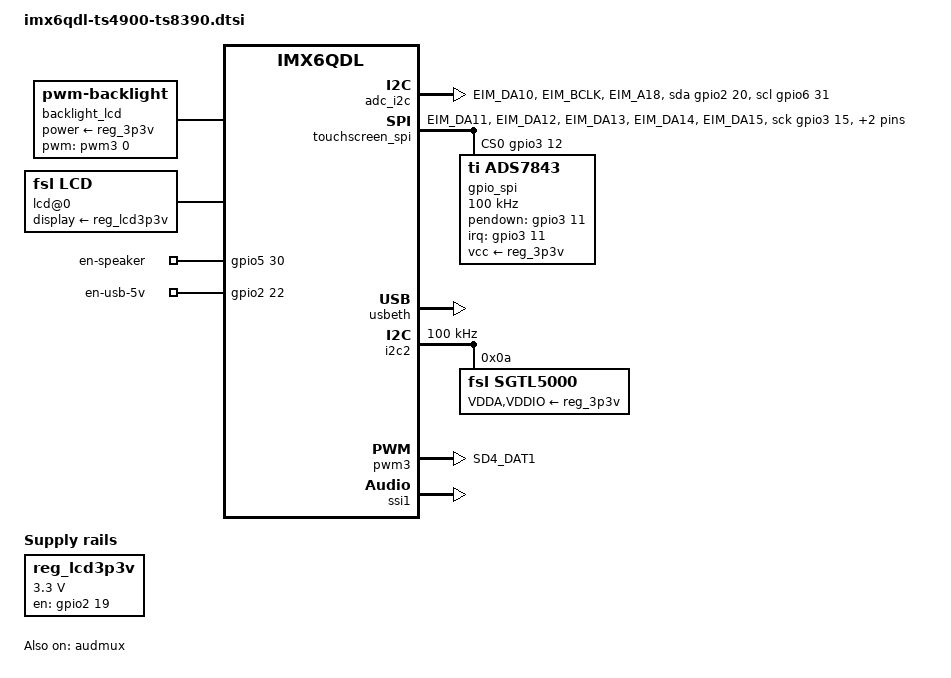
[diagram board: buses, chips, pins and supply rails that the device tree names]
/*
 * Copyright 2017 Technologic Systems
 *
 * This file is dual-licensed: you can use it either under the terms
 * of the GPL or the X11 license, at your option. Note that this dual
 * licensing only applies to this file, and not this project as a
 * whole.
 *
 *  a) This file is free software; you can redistribute it and/or
 *     modify it under the terms of the GNU General Public License
 *     version 2 as published by the Free Software Foundation.
 *
 *     This file is distributed in the hope that it will be useful
 *     but WITHOUT ANY WARRANTY; without even the implied warranty of
 *     MERCHANTABILITY or FITNESS FOR A PARTICULAR PURPOSE.  See the
 *     GNU General Public License for more details.
 *
 * Or, alternatively
 *
 *  b) Permission is hereby granted, free of charge, to any person
 *     obtaining a copy of this software and associated documentation
 *     files (the "Software"), to deal in the Software without
 *     restriction, including without limitation the rights to use
 *     copy, modify, merge, publish, distribute, sublicense, and/or
 *     sell copies of the Software, and to permit persons to whom the
 *     Software is furnished to do so, subject to the following
 *     conditions:
 *
 *     The above copyright notice and this permission notice shall be
 *     included in all copies or substantial portions of the Software.
 *
 *     THE SOFTWARE IS PROVIDED , WITHOUT WARRANTY OF ANY KIND
 *     EXPRESS OR IMPLIED, INCLUDING BUT NOT LIMITED TO THE WARRANTIES
 *     OF MERCHANTABILITY, FITNESS FOR A PARTICULAR PURPOSE AND
 *     NONINFRINGEMENT. IN NO EVENT SHALL THE AUTHORS OR COPYRIGHT
 *     HOLDERS BE LIABLE FOR ANY CLAIM, DAMAGES OR OTHER LIABILITY
 *     WHETHER IN AN ACTION OF CONTRACT, TORT OR OTHERWISE, ARISING
 *     FROM, OUT OF OR IN CONNECTION WITH THE SOFTWARE OR THE USE OR
 *     OTHER DEALINGS IN THE SOFTWARE.
 */

#include "imx6qdl-ts4900.dtsi"
#include <dt-bindings/interrupt-controller/irq.h>

/ {
	aliases {
		ethernet0 = &fec;
		ethernet1 = &usbeth;
		mxcfb0 = &mxcfb0;
		i2c3 = &adc_i2c;
	};

	adc_i2c: adc-i2c {
		compatible = "i2c-gpio";
		status = "okay";
		pinctrl-names = "default";
		pinctrl-0 = <&pinctrl_anamux>;
		gpios = <&gpio2 20 0>, /* sda */
				<&gpio6 31 0>; /* scl */
		#address-cells = <1>;
		#size-cells = <0>;
	};

	backlight_lcd {
		compatible = "pwm-backlight";
		pwms = <&pwm3 0 5000000>;
		brightness-levels = <0 128 140 160 180 200 220 240 255>;
		default-brightness-level = <8>;
		power-supply = <&reg_3p3v>;
	};

	lcd@0 {
		compatible = "fsl,lcd";
		ipu_id = <0>;
		disp_id = <0>;
		default_ifmt = "RGB24";
		pinctrl-names = "default";
		pinctrl-0 = <&pinctrl_ipu>;
		status = "okay";
		display-supply = <&reg_lcd3p3v>;
	};

	leds {
		compatible = "gpio-leds";

		/* These are intended as userspace controlled IO.  In this
		 * kernel version LEDs are the best interface I can find to 
		 * allow both userspace control and a default value.
		 */
		en-speaker {
			label = "en-speaker";
			gpios = <&gpio5 30 0>;
			default-state = "on";
		};

		en-usb-5v {
			label = "en-usb-5v";
			gpios = <&gpio2 22 0>;
			default-state = "on";
		};
	};

	mxcfb0: fb@0 {
		compatible = "fsl,mxc_sdc_fb";
		disp_dev = "lcd";
		interface_pix_fmt = "RGB24";
		mode_str ="OKAYA-WVGA";
		default_bpp = <16>;
		int_clk = <0>;
		late_init = <0>;
		status = "okay";
	};

	regulators {
		compatible = "simple-bus";

		reg_lcd3p3v: lcd3p3v {
			compatible = "regulator-fixed";
			pinctrl-names = "default";
			pinctrl-0 = <&pinctrl_lcd3p3v>;
			regulator-name = "LCD3P3V";
			regulator-min-microvolt = <3300000>;
			regulator-max-microvolt = <3300000>;
			gpio = <&gpio2 19 0>;
			enable-active-high;
			startup-delay-us = <60000>;
		};
	};

	sound {
		audio-codec = <&sgtl5000>;
		audio-routing =
			"MIC_IN", "Mic Jack",
			"Mic Jack", "Mic Bias",
			"Headphone Jack", "HP_OUT";
		compatible = "fsl,imx-audio-sgtl5000";
		model = "On-board Codec";
		mux-ext-port = <3>;
		mux-int-port = <1>;
		ssi-controller = <&ssi1>;
	};

	touchscreen_spi {
		compatible = "spi-gpio";
		pinctrl-names = "default";
		pinctrl-0 = <&pinctrl_touch>;
		status = "okay";
		num-chipselects = <1>;
		#address-cells = <1>;
		#size-cells = <0>;

		gpio-sck = <&gpio3 15 0>;
		gpio-mosi = <&gpio3 14 0>;
		gpio-miso = <&gpio3 13 0>;
		cs-gpios = <&gpio3 12 0>;

		gpio_spi: ads7843@0 {
			compatible = "ti,ads7843";
			reg = <0>;
			interrupt-parent = <&gpio3>;
			interrupts = <11 2>;
			vcc-supply = <&reg_3p3v>;
			spi-max-frequency = <100000>;
			pendown-gpio = <&gpio3 11 0>;
			ti,penirq-recheck-delay-usecs = /bits/ 16 <5000>;
			ti,vref-mv = <3300>;
			ti,swap-xy;
			ti,keep-vref-on;
			ti,settle-delay-usec = /bits/ 16 <5000>;
			ti,vref-delay-usecs = /bits/ 16 <0>;
			ti,x-plate-ohms = /bits/ 16 <400>;
			ti,y-plate-ohms = /bits/ 16 <400>;
			ti,pressure-max = /bits/ 16 <15000>;
			ti,debounce-rep = /bits/ 16 <2>;
			ti,debounce-tol = /bits/ 16 <65535>;
			ti,debounce-max = /bits/ 16 <0>;
			ti,pendown-gpio-debounce = <100000>;
			linux,wakeup;
		};
	};

	usbeth: smsc95xx {
		status = "okay";
	};
};

&audmux {
	status = "okay";
};

&i2c2 {
	status = "okay";
	clock-frequency = <100000>;
	pinctrl-names = "default";
	pinctrl-0 = <&pinctrl_i2c2>;

	sgtl5000: sgtl5000@0a {
		compatible = "fsl,sgtl5000";
		pinctrl-names = "default";
		pinctrl-0 = <&pinctrl_sgtl5000>;
		reg = <0x0a>;
		clocks = <&clks 201>;
		VDDA-supply = <&reg_3p3v>;
		VDDIO-supply = <&reg_3p3v>;
	};
};

&iomuxc {
	pinctrl-names = "default";
	pinctrl-0 = <&pinctrl_misc>;

	imx6-ts4900 {
		pinctrl_ipu: tsipugrp {
			fsl,pins = <
				MX6QDL_PAD_DI0_DISP_CLK__IPU1_DI0_DISP_CLK	0x38
				MX6QDL_PAD_DI0_PIN15__IPU1_DI0_PIN15		0xe0 /* DE */
				MX6QDL_PAD_DI0_PIN2__IPU1_DI0_PIN02		0xe0 /* Hsync */
				MX6QDL_PAD_DI0_PIN3__IPU1_DI0_PIN03		0xe0 /* Vsync */
				MX6QDL_PAD_DISP0_DAT0__IPU1_DISP0_DATA00	0xe0
				MX6QDL_PAD_DISP0_DAT1__IPU1_DISP0_DATA01	0xe0
				MX6QDL_PAD_DISP0_DAT2__IPU1_DISP0_DATA02	0xe0
				MX6QDL_PAD_DISP0_DAT3__IPU1_DISP0_DATA03	0xe0
				MX6QDL_PAD_DISP0_DAT4__IPU1_DISP0_DATA04	0xe0
				MX6QDL_PAD_DISP0_DAT5__IPU1_DISP0_DATA05	0xe0
				MX6QDL_PAD_DISP0_DAT6__IPU1_DISP0_DATA06	0xe0
				MX6QDL_PAD_DISP0_DAT7__IPU1_DISP0_DATA07	0xe0
				MX6QDL_PAD_DISP0_DAT8__IPU1_DISP0_DATA08	0xe0
				MX6QDL_PAD_DISP0_DAT9__IPU1_DISP0_DATA09	0xe0
				MX6QDL_PAD_DISP0_DAT10__IPU1_DISP0_DATA10	0xe0
				MX6QDL_PAD_DISP0_DAT11__IPU1_DISP0_DATA11	0xe0
				MX6QDL_PAD_DISP0_DAT12__IPU1_DISP0_DATA12	0xe0
				MX6QDL_PAD_DISP0_DAT13__IPU1_DISP0_DATA13	0xe0
				MX6QDL_PAD_DISP0_DAT14__IPU1_DISP0_DATA14	0xe0
				MX6QDL_PAD_DISP0_DAT15__IPU1_DISP0_DATA15	0xe0
				MX6QDL_PAD_DISP0_DAT16__IPU1_DISP0_DATA16	0xe0
				MX6QDL_PAD_DISP0_DAT17__IPU1_DISP0_DATA17	0xe0
				MX6QDL_PAD_DISP0_DAT18__IPU1_DISP0_DATA18	0xe0
				MX6QDL_PAD_DISP0_DAT19__IPU1_DISP0_DATA19	0xe0
				MX6QDL_PAD_DISP0_DAT20__IPU1_DISP0_DATA20	0xe0
				MX6QDL_PAD_DISP0_DAT21__IPU1_DISP0_DATA21	0xe0
				MX6QDL_PAD_DISP0_DAT22__IPU1_DISP0_DATA22	0xe0
				MX6QDL_PAD_DISP0_DAT23__IPU1_DISP0_DATA23	0xe0
			>;
		};

		pinctrl_touch: touchspigrp {
			fsl,pins = <
				MX6QDL_PAD_EIM_DA11__GPIO3_IO11		0x1b088 /* TOUCH_WAKE# */
				MX6QDL_PAD_EIM_DA12__GPIO3_IO12		0x1b088 /* TOUCH_CS# */
				MX6QDL_PAD_EIM_DA13__GPIO3_IO13		0x1b088 /* TOUCH_MISO */
				MX6QDL_PAD_EIM_DA14__GPIO3_IO14		0x1b088 /* TOUCH_MOSI */
				MX6QDL_PAD_EIM_DA15__GPIO3_IO15		0x1b088 /* TOUCH_CLK */
			>;
		};

		pinctrl_pwm3: pwm3grp {
			fsl,pins = <
				MX6QDL_PAD_SD4_DAT1__PWM3_OUT		0x1b088
			>;
		};

		pinctrl_lcd3p3v: lcdreggrp {
			fsl,pins = <
				MX6QDL_PAD_EIM_A19__GPIO2_IO19		0x1b088 /* EN_LCD_3.3V */
			>;
		};

		pinctrl_sgtl5000: sgtl5000grp {
			fsl,pins = <
				MX6QDL_PAD_CSI0_DAT7__AUD3_RXD		0x130b0
				MX6QDL_PAD_CSI0_DAT4__AUD3_TXC		0x130b0
				MX6QDL_PAD_CSI0_DAT5__AUD3_TXD		0x110b0
				MX6QDL_PAD_CSI0_DAT6__AUD3_TXFS		0x130b0
				MX6QDL_PAD_GPIO_0__CCM_CLKO1		0x130b0 /* Audio CLK */
			>;
		};

		pinctrl_anamux: anamuxgrp {
			fsl,pins = <
				MX6QDL_PAD_EIM_DA10__GPIO3_IO10		0x1b088 /* AN_SEL */
				MX6QDL_PAD_EIM_BCLK__GPIO6_IO31		0x1b088 /* ADC_CLK */
				MX6QDL_PAD_EIM_A18__GPIO2_IO20		0x1b088 /* ADC_DAT */
			>;
		};

		pinctrl_misc: misc {
			fsl,pins = <
				MX6QDL_PAD_EIM_A16__GPIO2_IO22		0x1b088 /* EN_USB_5V# */
				MX6QDL_PAD_EIM_A17__GPIO2_IO21		0x1b088 /* OFF_BD_RESET# */

				MX6QDL_PAD_EIM_A24__GPIO5_IO04		0x1b088 /* DIO_00/OUT_0 */
				MX6QDL_PAD_EIM_A23__GPIO6_IO06		0x1b088 /* DIO_01/OUT_1 */
				MX6QDL_PAD_EIM_A22__GPIO2_IO16		0x1b088 /* DIO_02/OUT_2 */
				MX6QDL_PAD_EIM_EB1__GPIO2_IO29		0x1b088 /* DIO_23/OUT_3 */
				MX6QDL_PAD_EIM_CS0__GPIO2_IO23		0x1b088 /* DIO_24/OUT_4 */
				MX6QDL_PAD_EIM_LBA__GPIO2_IO27		0x1b088 /* DIO_26/OUT_5 */
				MX6QDL_PAD_EIM_DA8__GPIO3_IO08		0x1b088 /* DIO_27/OUT_6 */
				MX6QDL_PAD_EIM_DA9__GPIO3_IO09		0x1b088 /* DIO_28/OUT_7 */
				MX6QDL_PAD_CSI0_MCLK__GPIO5_IO19	0x1b088 /* OUT_8 */
				MX6QDL_PAD_EIM_A21__GPIO2_IO17		0x1b088 /* DIO_08/IN_0 */
				MX6QDL_PAD_EIM_WAIT__GPIO5_IO00		0x1b088 /* DIO_22/IN_2 */
				MX6QDL_PAD_EIM_A20__GPIO2_IO18		0x1b088 /* DIO_04/IN_4 */
				MX6QDL_PAD_GPIO_19__GPIO4_IO05		0x1b088 /* DIO_29/IN_5 */
				MX6QDL_PAD_CSI0_DAT17__GPIO6_IO03	0x1b088 /* DIO_20/IN_6 */
				MX6QDL_PAD_CSI0_PIXCLK__GPIO5_IO18	0x1b088 /* DIO_21/IN_7 */
				MX6QDL_PAD_GPIO_17__GPIO7_IO12		0x1b088 /* DIO_17/IN_8 */
				MX6QDL_PAD_SD3_RST__GPIO7_IO08		0x1b088 /* DIO_43/IN_9 */
				MX6QDL_PAD_GPIO_16__GPIO7_IO11		0x1b088 /* DIO_49/IN_10 */
				MX6QDL_PAD_SD4_DAT7__GPIO2_IO15		0x1b088 /* DIO_52/IN_11 */
				MX6QDL_PAD_CSI0_DAT12__GPIO5_IO30	0x1b088 /* EN_SPKR */

				MX6QDL_PAD_GPIO_5__GPIO1_IO05		0x1b088 /* DIO_20/IN_6 */
				MX6QDL_PAD_GPIO_9__GPIO1_IO09		0x1b088 /* DIO_43/IN_9 */
			>;
		};
	};
};

&pcie {
	status = "disabled";
};

&pwm3 {
	pinctrl-names = "default";
	pinctrl-0 = <&pinctrl_pwm3>;
	status = "okay";
};

&ssi1 {
	fsl,mode = "i2s-slave";
	status = "okay";
};
